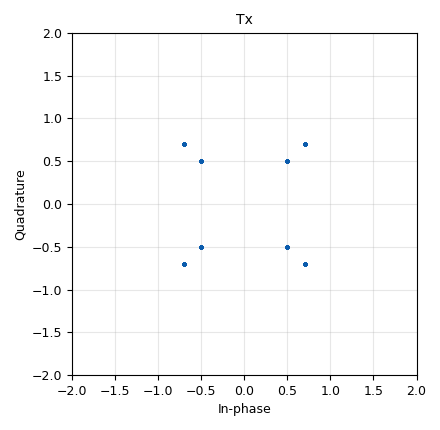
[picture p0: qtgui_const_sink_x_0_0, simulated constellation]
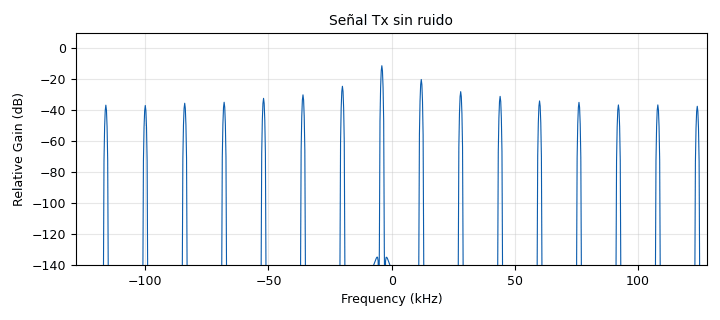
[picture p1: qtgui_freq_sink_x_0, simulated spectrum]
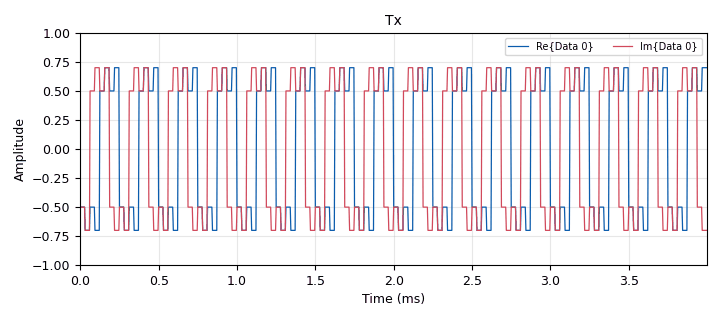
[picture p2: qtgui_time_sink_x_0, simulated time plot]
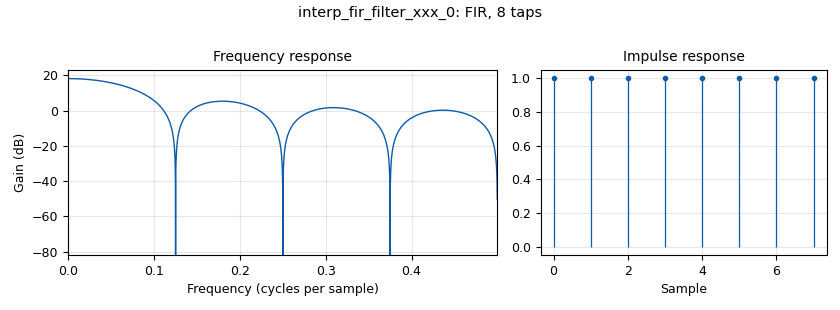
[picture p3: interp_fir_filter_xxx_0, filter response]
options:
  parameters:
    generate_options: qt_gui
    id: TransmisorQPSK
    output_language: python
    title: Not titled yet
  states: {}

blocks:
- name: M
  id: variable
  parameters:
    value: len(tabla_de_verdad_constelacion)
  states: {}
- name: N
  id: variable
  parameters:
    value: '100e-3'
  states: {}
- name: Rb
  id: variable
  parameters:
    value: Rs*bps
  states: {}
- name: Rs
  id: variable
  parameters:
    value: '32000'
  states: {}
- name: Sps
  id: variable
  parameters:
    value: '8'
  states: {}
- name: bps
  id: variable
  parameters:
    value: int(math.log(M,2))
  states: {}
- name: h
  id: variable
  parameters:
    value: '[1]*Sps'
  states: {}
- name: samp_rate
  id: variable
  parameters:
    value: Rs*Sps
  states: {}
- name: tabla_de_verdad_constelacion
  id: variable
  parameters:
    value: (-0.5-0.5j,-0.7-0.7j,-0.5+0.5j,-0.7+0.7j,0.5+0.5j,0.7+0.7j,0.5-0.5j,0.7-0.7j)
  states: {}
- name: E3TRadio_diezmador_cc_0
  id: E3TRadio_diezmador_cc
  parameters:
    paso: '8'
  states: {}
- name: analog_noise_source_x_0
  id: analog_noise_source_x
  parameters:
    amp: N
    noise_type: analog.GR_GAUSSIAN
    seed: '0'
    type: complex
  states: {}
- name: analog_random_source_x_0
  id: analog_random_source_x
  parameters:
    max: '2'
    min: '0'
    num_samps: '1000'
    repeat: 'True'
    type: byte
  states: {state: disabled}
- name: b_demod_constelacion_cb_0
  id: b_demod_constelacion_cb
  parameters:
    Constelacion: tabla_de_verdad_constelacion
  states: {}
- name: b_u_de_M_PAM_bb_0
  id: b_u_de_M_PAM_bb
  parameters:
    M: '4'
  states: {}
- name: blocks_add_xx_0
  id: blocks_add_xx
  parameters:
    type: complex
  states: {}
- name: blocks_char_to_float_1
  id: blocks_char_to_float
  parameters:
    scale: '1'
  states: {}
- name: blocks_multiply_const_vxx_0
  id: blocks_multiply_const_vxx
  parameters:
    const: 1/Sps
    type: complex
  states: {}
- name: blocks_null_sink_0
  id: blocks_null_sink
  parameters:
    type: byte
  states: {}
- name: blocks_unpacked_to_packed_xx_0
  id: blocks_unpacked_to_packed_xx
  parameters:
    bits_per_chunk: '2'
    endianness: gr.GR_MSB_FIRST
    type: byte
  states: {state: disabled}
- name: blocks_vector_source_x_0
  id: blocks_vector_source_x
  parameters:
    repeat: 'True'
    type: byte
    vector: (0,1,2,3,4,5,6,7)
  states: {}
- name: digital_chunks_to_symbols_xx_0
  id: digital_chunks_to_symbols_xx
  parameters:
    dimension: '1'
    in_type: byte
    out_type: complex
    symbol_table: tabla_de_verdad_constelacion
  states: {}
- name: import_0
  id: import
  parameters:
    imports: import math
  states: {}
- name: interp_fir_filter_xxx_0
  id: interp_fir_filter_xxx
  parameters:
    interp: Sps
    taps: h
    type: ccf
  states: {}
- name: interp_fir_filter_xxx_1
  id: interp_fir_filter_xxx
  parameters:
    interp: '1'
    taps: h
    type: ccc
  states: {}
- name: qtgui_const_sink_x_0_0
  id: qtgui_const_sink_x
  parameters:
    name: '"Tx"'
    size: '1024'
    type: complex
  states: {}
- name: qtgui_const_sink_x_0_0_0
  id: qtgui_const_sink_x
  parameters:
    name: '"Rx"'
    size: '1024'
    type: complex
  states: {}
- name: qtgui_freq_sink_x_0
  id: qtgui_freq_sink_x
  parameters:
    average: '0.05'
    bw: samp_rate
    fc: '0'
    fftsize: '1024'
    name: '"Señal Tx sin ruido"'
    type: complex
  states: {}
- name: qtgui_time_sink_x_0
  id: qtgui_time_sink_x
  parameters:
    name: '"Tx"'
    size: '1024'
    srate: samp_rate
    type: complex
  states: {}
- name: qtgui_time_sink_x_0_0
  id: qtgui_time_sink_x
  parameters:
    name: '"Rx"'
    size: '1024'
    srate: samp_rate
    type: float
  states: {}
- name: virtual_sink_0
  id: virtual_sink
  parameters:
    stream_id: modulada+ruido
  states: {}
- name: virtual_sink_0_0
  id: virtual_sink
  parameters:
    stream_id: modulada
  states: {}
- name: virtual_sink_1
  id: virtual_sink
  parameters:
    stream_id: T0
  states: {}
- name: virtual_sink_2
  id: virtual_sink
  parameters:
    stream_id: ruido
  states: {}
- name: virtual_source_0
  id: virtual_source
  parameters:
    stream_id: modulada+ruido
  states: {state: disabled}
- name: virtual_source_0_0
  id: virtual_source
  parameters:
    stream_id: modulada
  states: {}

connections:
- [E3TRadio_diezmador_cc_0, '0', b_demod_constelacion_cb_0, '0']
- [E3TRadio_diezmador_cc_0, '0', qtgui_const_sink_x_0_0_0, '0']
- [analog_noise_source_x_0, '0', blocks_add_xx_0, '0']
- [analog_noise_source_x_0, '0', virtual_sink_2, '0']
- [b_demod_constelacion_cb_0, '0', b_u_de_M_PAM_bb_0, '0']
- [b_demod_constelacion_cb_0, '0', blocks_unpacked_to_packed_xx_0, '0']
- [b_u_de_M_PAM_bb_0, '0', blocks_char_to_float_1, '0']
- [b_u_de_M_PAM_bb_0, '0', blocks_null_sink_0, '0']
- [blocks_add_xx_0, '0', interp_fir_filter_xxx_1, '0']
- [blocks_add_xx_0, '0', virtual_sink_0, '0']
- [blocks_char_to_float_1, '0', qtgui_time_sink_x_0_0, '0']
- [blocks_multiply_const_vxx_0, '0', E3TRadio_diezmador_cc_0, '0']
- [blocks_unpacked_to_packed_xx_0, '0', blocks_char_to_float_1, '0']
- [blocks_vector_source_x_0, '0', digital_chunks_to_symbols_xx_0, '0']
- [blocks_vector_source_x_0, '0', virtual_sink_1, '0']
- [digital_chunks_to_symbols_xx_0, '0', interp_fir_filter_xxx_0, '0']
- [interp_fir_filter_xxx_0, '0', blocks_add_xx_0, '1']
- [interp_fir_filter_xxx_0, '0', virtual_sink_0_0, '0']
- [interp_fir_filter_xxx_1, '0', blocks_multiply_const_vxx_0, '0']
- [virtual_source_0, '0', qtgui_time_sink_x_0, '0']
- [virtual_source_0_0, '0', qtgui_const_sink_x_0_0, '0']
- [virtual_source_0_0, '0', qtgui_freq_sink_x_0, '0']
- [virtual_source_0_0, '0', qtgui_time_sink_x_0, '0']

metadata:
  file_format: 1
  grc_version: 3.10.5.1
